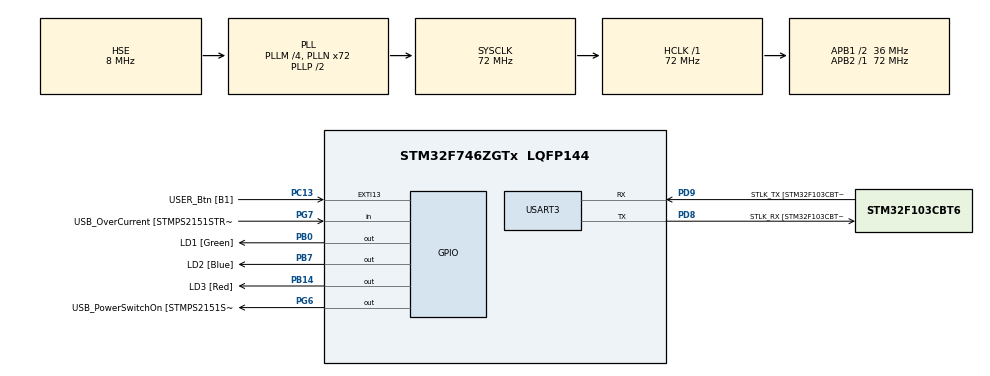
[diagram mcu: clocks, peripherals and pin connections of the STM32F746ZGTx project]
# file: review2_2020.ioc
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FREERTOS.INCLUDE_vTaskDelayUntil=1
FREERTOS.Queues01=Qtranscode,20,uint8_t,0,Dynamic,NULL,NULL;uart3_rx_queue,50,uint8_t,0,Dynamic,NULL,NULL
FREERTOS.Tasks01=taskTranscode,0,128,taskTranscodeFn,Default,NULL,Dynamic,NULL,NULL;taskBeep,-3,128,taskBeepFn,Default,NULL,Dynamic,NULL,NULL
FREERTOS.configUSE_NEWLIB_REENTRANT=1
Mcu.Family=STM32F7
Mcu.Name=STM32F746ZGTx
Mcu.Package=LQFP144
NVIC.PriorityGroup=NVIC_PRIORITYGROUP_4
NVIC.TIM3_IRQn=true\:0\:0\:false\:false\:true\:false\:false\:true
NVIC.TimeBase=TIM3_IRQn
NVIC.TimeBaseIP=TIM3
NVIC.USART3_IRQn=true\:5\:0\:false\:false\:true\:true\:true\:true
PA1.GPIO_Label=RMII_REF_CLK [LAN8742A-CZ-TR_REFCLK0]
PA1.Signal=ETH_REF_CLK
PA10.GPIO_Label=USB_ID
PA10.Signal=USB_OTG_FS_ID
PA11.GPIO_Label=USB_DM
PA11.Signal=USB_OTG_FS_DM
PA12.GPIO_Label=USB_DP
PA12.Signal=USB_OTG_FS_DP
PA13.GPIO_Label=TMS
PA13.Mode=Serial_Wire
PA13.Signal=SYS_JTMS-SWDIO
PA14.GPIO_Label=TCK
PA14.Mode=Serial_Wire
PA14.Signal=SYS_JTCK-SWCLK
PA2.GPIO_Label=RMII_MDIO [LAN8742A-CZ-TR_MDIO]
PA2.Signal=ETH_MDIO
PA7.GPIO_Label=RMII_CRS_DV [LAN8742A-CZ-TR_CRS_DV]
PA7.Signal=ETH_CRS_DV
PA8.GPIO_Label=USB_SOF [TP1]
PA8.Signal=USB_OTG_FS_SOF
PA9.GPIO_Label=USB_VBUS
PA9.Signal=USB_OTG_FS_VBUS
PB0.GPIO_Label=LD1 [Green]
PB0.Signal=GPIO_Output
PB13.GPIO_Label=RMII_TXD1 [LAN8742A-CZ-TR_TXD1]
PB13.Signal=ETH_TXD1
PB14.GPIO_Label=LD3 [Red]
PB14.Signal=GPIO_Output
PB3.GPIO_Label=SW0
PB3.Signal=SYS_JTDO-SWO
PB7.GPIO_Label=LD2 [Blue]
PB7.Signal=GPIO_Output
PC1.GPIO_Label=RMII_MDC [LAN8742A-CZ-TR_MDC]
PC1.Signal=ETH_MDC
PC13.GPIO_Label=USER_Btn [B1]
PC13.Signal=GPXTI13
PC14/OSC32_IN.Mode=LSE-External-Oscillator
PC14/OSC32_IN.Signal=RCC_OSC32_IN
PC15/OSC32_OUT.Mode=LSE-External-Oscillator
PC15/OSC32_OUT.Signal=RCC_OSC32_OUT
PC4.GPIO_Label=RMII_RXD0 [LAN8742A-CZ-TR_RXD0]
PC4.Signal=ETH_RXD0
PC5.GPIO_Label=RMII_RXD1 [LAN8742A-CZ-TR_RXD1]
PC5.Signal=ETH_RXD1
PD8.GPIO_Label=STLK_RX [STM32F103CBT6_PA3]
PD8.Mode=Asynchronous
PD8.Signal=USART3_TX
PD9.GPIO_Label=STLK_TX [STM32F103CBT6_PA2]
PD9.Mode=Asynchronous
PD9.Signal=USART3_RX
PG11.GPIO_Label=RMII_TX_EN [LAN8742A-CZ-TR_TXEN]
PG11.Signal=ETH_TX_EN
PG13.GPIO_Label=RMII_TXD0 [LAN8742A-CZ-TR_TXD0]
PG13.Signal=ETH_TXD0
PG6.GPIO_Label=USB_PowerSwitchOn [STMPS2151STR_EN]
PG6.Signal=GPIO_Output
PG7.GPIO_Label=USB_OverCurrent [STMPS2151STR_FAULT]
PG7.Signal=GPIO_Input
PH0/OSC_IN.GPIO_Label=MCO [STM32F103CBT6_PA8]
PH0/OSC_IN.Mode=HSE-External-Clock-Source
PH0/OSC_IN.Signal=RCC_OSC_IN
PH1/OSC_OUT.Mode=HSE-External-Clock-Source
PH1/OSC_OUT.Signal=RCC_OSC_OUT
ProjectManager.HeapSize=0x200
ProjectManager.StackSize=0x400
ProjectManager.TargetToolchain=STM32CubeIDE
RCC.48MHZClocksFreq_Value=24000000
RCC.AHBFreq_Value=72000000
RCC.APB1CLKDivider=RCC_HCLK_DIV2
RCC.APB1Freq_Value=36000000
RCC.APB1TimFreq_Value=72000000
RCC.APB2Freq_Value=72000000
RCC.APB2TimFreq_Value=72000000
RCC.CortexFreq_Value=72000000
RCC.HCLKFreq_Value=72000000
RCC.HSE_VALUE=8000000
RCC.HSI_VALUE=16000000
RCC.PLLM=4
RCC.PLLMUL=RCC_PLL_MUL9
RCC.PLLN=72
RCC.PLLQ=3
RCC.PLLSourceVirtual=RCC_PLLSOURCE_HSE
RCC.PRESCALERUSB=RCC_USBCLKSOURCE_PLL_DIV1_5
RCC.SYSCLKFreq_VALUE=72000000
RCC.SYSCLKSource=RCC_SYSCLKSOURCE_PLLCLK
RCC.SYSCLKSourceVirtual=RCC_SYSCLKSOURCE_PLLCLK
RCC.USBFreq_Value=48000000
RCC.VCOOutputFreq_Value=144000000
USART3.VirtualMode-Asynchronous=VM_ASYNC
VP_FREERTOS_VS_CMSIS_V1.Mode=CMSIS_V1
VP_SYS_VS_tim3.Mode=TIM3
board=NUCLEO-F746ZG

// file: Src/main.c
/* USER CODE BEGIN Header */
/**
  ******************************************************************************
  * @file           : main.c
  * @brief          : Main program body
  ******************************************************************************
  * @attention
  *
  * <h2><center>&copy; Copyright (c) 2020 STMicroelectronics.
  * All rights reserved.</center></h2>
  *
  * This software component is licensed by ST under Ultimate Liberty license
  * SLA0044, the "License"; You may not use this file except in compliance with
  * the License. You may obtain a copy of the License at:
  *                             www.st.com/SLA0044
  *
  ******************************************************************************
  */
/* USER CODE END Header */
#include "main.h"
#include "cmsis_os.h"

UART_HandleTypeDef huart3;

osThreadId taskTranscodeHandle;
osThreadId taskBeepHandle;
osMessageQId QtranscodeHandle;
osMessageQId uart3_rx_queueHandle;
/* USER CODE BEGIN PV */

struct A2MstructType
{
    const char         letter;
    const char * const morse;
};

// declare the gloabl constant array of structures
static const struct A2MstructType cxTABLE[] =
{
    { '0', "----- " },  //[0]
    { '1', ".---- " },
    { '2', "..--- " },
    { '3', "...-- " },
    { '4', "....- " },
    { '5', "..... " },
    { '6', "-.... " },
    { '7', "--... " },
    { '8', "---.. " },
    { '9', "----. " },
    { 'A', ".- " },     //[10]
    { 'B', "-... " },
    { 'C', "-.-. " },
    { 'D', "-.. " },
    { 'E', ". " },
    { 'F', "..-. " },
    { 'G', "--. " },
    { 'H', ".... " },
    { 'I', ".. " },
    { 'J', ".--- " },
    { 'K', ".-.- " },   //[20]
    { 'L', ".-.. " },
    { 'M', "-- " },
    { 'N', "-. " },
    { 'O', "--- " },
    { 'P', ".--. " },
    { 'Q', "--.- " },
    { 'R', ".-. " },
    { 'S', "... " },
    { 'T', "- " },
    { 'U', "..- " },    //[30]
    { 'V', "...- " },
    { 'W', ".-- " },
    { 'X', "-..- " },
    { 'Y', "-.-- " },
    { 'Z', "--.. " },
    { ' ', "    " },
    { '.', ".-.-.- " },
    { ',', "--..-- " },
    { '?', "..--.. " },
};

/* USER CODE END PV */

void SystemClock_Config(void);
static void MX_GPIO_Init(void);
static void MX_USART3_UART_Init(void);
void taskTranscodeFn(void const * argument);
void taskBeepFn(void const * argument);

int main(void)
{

  /* MCU Configuration--------------------------------------------------------*/

  /* Reset of all peripherals, Initializes the Flash interface and the Systick. */
  HAL_Init();

  /* Configure the system clock */
  SystemClock_Config();

  /* Initialize all configured peripherals */
  MX_GPIO_Init();
  MX_USART3_UART_Init();
  /* USER CODE BEGIN 2 */
  __HAL_UART_ENABLE_IT(&huart3, UART_IT_RXNE);
  /* USER CODE END 2 */

  /* Create the queue(s) */
  /* definition and creation of Qtranscode */
  osMessageQDef(Qtranscode, 20, uint8_t);
  QtranscodeHandle = osMessageCreate(osMessageQ(Qtranscode), NULL);

  /* definition and creation of uart3_rx_queue */
  osMessageQDef(uart3_rx_queue, 50, uint8_t);
  uart3_rx_queueHandle = osMessageCreate(osMessageQ(uart3_rx_queue), NULL);

  /* Create the thread(s) */
  /* definition and creation of taskTranscode */
  osThreadDef(taskTranscode, taskTranscodeFn, osPriorityNormal, 0, 128);
  taskTranscodeHandle = osThreadCreate(osThread(taskTranscode), NULL);

  /* definition and creation of taskBeep */
  osThreadDef(taskBeep, taskBeepFn, osPriorityIdle, 0, 128);
  taskBeepHandle = osThreadCreate(osThread(taskBeep), NULL);

  /* Start scheduler */
  osKernelStart();

  /* We should never get here as control is now taken by the scheduler */
  /* Infinite loop */
  while (1)
  {

  }
}

void SystemClock_Config(void)
{
  RCC_OscInitTypeDef RCC_OscInitStruct = {0};
  RCC_ClkInitTypeDef RCC_ClkInitStruct = {0};

  /** Configure LSE Drive Capability
  */
  HAL_PWR_EnableBkUpAccess();
  /** Configure the main internal regulator output voltage
  */
  __HAL_RCC_PWR_CLK_ENABLE();
  __HAL_PWR_VOLTAGESCALING_CONFIG(PWR_REGULATOR_VOLTAGE_SCALE3);
  /** Initializes the RCC Oscillators according to the specified parameters
  * in the RCC_OscInitTypeDef structure.
  */
  RCC_OscInitStruct.OscillatorType = RCC_OSCILLATORTYPE_HSE;
  RCC_OscInitStruct.HSEState = RCC_HSE_BYPASS;
  RCC_OscInitStruct.PLL.PLLState = RCC_PLL_ON;
  RCC_OscInitStruct.PLL.PLLSource = RCC_PLLSOURCE_HSE;
  RCC_OscInitStruct.PLL.PLLM = 4;
  RCC_OscInitStruct.PLL.PLLN = 72;
  RCC_OscInitStruct.PLL.PLLP = RCC_PLLP_DIV2;
  RCC_OscInitStruct.PLL.PLLQ = 3;
  if (HAL_RCC_OscConfig(&RCC_OscInitStruct) != HAL_OK)
  {
    Error_Handler();
  }
  /** Initializes the CPU, AHB and APB buses clocks
  */
  RCC_ClkInitStruct.ClockType = RCC_CLOCKTYPE_HCLK|RCC_CLOCKTYPE_SYSCLK
                              |RCC_CLOCKTYPE_PCLK1|RCC_CLOCKTYPE_PCLK2;
  RCC_ClkInitStruct.SYSCLKSource = RCC_SYSCLKSOURCE_PLLCLK;
  RCC_ClkInitStruct.AHBCLKDivider = RCC_SYSCLK_DIV1;
  RCC_ClkInitStruct.APB1CLKDivider = RCC_HCLK_DIV2;
  RCC_ClkInitStruct.APB2CLKDivider = RCC_HCLK_DIV1;

  if (HAL_RCC_ClockConfig(&RCC_ClkInitStruct, FLASH_LATENCY_2) != HAL_OK)
  {
    Error_Handler();
  }
}

static void MX_USART3_UART_Init(void)
{

  huart3.Instance = USART3;
  huart3.Init.BaudRate = 115200;
  huart3.Init.WordLength = UART_WORDLENGTH_8B;
  huart3.Init.StopBits = UART_STOPBITS_1;
  huart3.Init.Parity = UART_PARITY_NONE;
  huart3.Init.Mode = UART_MODE_TX_RX;
  huart3.Init.HwFlowCtl = UART_HWCONTROL_NONE;
  huart3.Init.OverSampling = UART_OVERSAMPLING_16;
  huart3.Init.OneBitSampling = UART_ONE_BIT_SAMPLE_DISABLE;
  huart3.AdvancedInit.AdvFeatureInit = UART_ADVFEATURE_NO_INIT;
  if (HAL_UART_Init(&huart3) != HAL_OK)
  {
    Error_Handler();
  }

}

static void MX_GPIO_Init(void)
{
  GPIO_InitTypeDef GPIO_InitStruct = {0};

  /* GPIO Ports Clock Enable */
  __HAL_RCC_GPIOC_CLK_ENABLE();
  __HAL_RCC_GPIOH_CLK_ENABLE();
  __HAL_RCC_GPIOA_CLK_ENABLE();
  __HAL_RCC_GPIOB_CLK_ENABLE();
  __HAL_RCC_GPIOD_CLK_ENABLE();
  __HAL_RCC_GPIOG_CLK_ENABLE();

  /*Configure GPIO pin Output Level */
  HAL_GPIO_WritePin(GPIOB, LD1_Pin|LD3_Pin|LD2_Pin, GPIO_PIN_RESET);

  /*Configure GPIO pin Output Level */
  HAL_GPIO_WritePin(USB_PowerSwitchOn_GPIO_Port, USB_PowerSwitchOn_Pin, GPIO_PIN_RESET);

  /*Configure GPIO pin : USER_Btn_Pin */
  GPIO_InitStruct.Pin = USER_Btn_Pin;
  GPIO_InitStruct.Mode = GPIO_MODE_IT_RISING;
  GPIO_InitStruct.Pull = GPIO_NOPULL;
  HAL_GPIO_Init(USER_Btn_GPIO_Port, &GPIO_InitStruct);

  /*Configure GPIO pins : RMII_MDC_Pin RMII_RXD0_Pin RMII_RXD1_Pin */
  GPIO_InitStruct.Pin = RMII_MDC_Pin|RMII_RXD0_Pin|RMII_RXD1_Pin;
  GPIO_InitStruct.Mode = GPIO_MODE_AF_PP;
  GPIO_InitStruct.Pull = GPIO_NOPULL;
  GPIO_InitStruct.Speed = GPIO_SPEED_FREQ_VERY_HIGH;
  GPIO_InitStruct.Alternate = GPIO_AF11_ETH;
  HAL_GPIO_Init(GPIOC, &GPIO_InitStruct);

  /*Configure GPIO pins : RMII_REF_CLK_Pin RMII_MDIO_Pin RMII_CRS_DV_Pin */
  GPIO_InitStruct.Pin = RMII_REF_CLK_Pin|RMII_MDIO_Pin|RMII_CRS_DV_Pin;
  GPIO_InitStruct.Mode = GPIO_MODE_AF_PP;
  GPIO_InitStruct.Pull = GPIO_NOPULL;
  GPIO_InitStruct.Speed = GPIO_SPEED_FREQ_VERY_HIGH;
  GPIO_InitStruct.Alternate = GPIO_AF11_ETH;
  HAL_GPIO_Init(GPIOA, &GPIO_InitStruct);

  /*Configure GPIO pins : LD1_Pin LD3_Pin LD2_Pin */
  GPIO_InitStruct.Pin = LD1_Pin|LD3_Pin|LD2_Pin;
  GPIO_InitStruct.Mode = GPIO_MODE_OUTPUT_PP;
  GPIO_InitStruct.Pull = GPIO_NOPULL;
  GPIO_InitStruct.Speed = GPIO_SPEED_FREQ_LOW;
  HAL_GPIO_Init(GPIOB, &GPIO_InitStruct);

  /*Configure GPIO pin : RMII_TXD1_Pin */
  GPIO_InitStruct.Pin = RMII_TXD1_Pin;
  GPIO_InitStruct.Mode = GPIO_MODE_AF_PP;
  GPIO_InitStruct.Pull = GPIO_NOPULL;
  GPIO_InitStruct.Speed = GPIO_SPEED_FREQ_VERY_HIGH;
  GPIO_InitStruct.Alternate = GPIO_AF11_ETH;
  HAL_GPIO_Init(RMII_TXD1_GPIO_Port, &GPIO_InitStruct);

  /*Configure GPIO pin : USB_PowerSwitchOn_Pin */
  GPIO_InitStruct.Pin = USB_PowerSwitchOn_Pin;
  GPIO_InitStruct.Mode = GPIO_MODE_OUTPUT_PP;
  GPIO_InitStruct.Pull = GPIO_NOPULL;
  GPIO_InitStruct.Speed = GPIO_SPEED_FREQ_LOW;
  HAL_GPIO_Init(USB_PowerSwitchOn_GPIO_Port, &GPIO_InitStruct);

  /*Configure GPIO pin : USB_OverCurrent_Pin */
  GPIO_InitStruct.Pin = USB_OverCurrent_Pin;
  GPIO_InitStruct.Mode = GPIO_MODE_INPUT;
  GPIO_InitStruct.Pull = GPIO_NOPULL;
  HAL_GPIO_Init(USB_OverCurrent_GPIO_Port, &GPIO_InitStruct);

  /*Configure GPIO pins : USB_SOF_Pin USB_ID_Pin USB_DM_Pin USB_DP_Pin */
  GPIO_InitStruct.Pin = USB_SOF_Pin|USB_ID_Pin|USB_DM_Pin|USB_DP_Pin;
  GPIO_InitStruct.Mode = GPIO_MODE_AF_PP;
  GPIO_InitStruct.Pull = GPIO_NOPULL;
  GPIO_InitStruct.Speed = GPIO_SPEED_FREQ_VERY_HIGH;
  GPIO_InitStruct.Alternate = GPIO_AF10_OTG_FS;
  HAL_GPIO_Init(GPIOA, &GPIO_InitStruct);

  /*Configure GPIO pin : USB_VBUS_Pin */
  GPIO_InitStruct.Pin = USB_VBUS_Pin;
  GPIO_InitStruct.Mode = GPIO_MODE_INPUT;
  GPIO_InitStruct.Pull = GPIO_NOPULL;
  HAL_GPIO_Init(USB_VBUS_GPIO_Port, &GPIO_InitStruct);

  /*Configure GPIO pins : RMII_TX_EN_Pin RMII_TXD0_Pin */
  GPIO_InitStruct.Pin = RMII_TX_EN_Pin|RMII_TXD0_Pin;
  GPIO_InitStruct.Mode = GPIO_MODE_AF_PP;
  GPIO_InitStruct.Pull = GPIO_NOPULL;
  GPIO_InitStruct.Speed = GPIO_SPEED_FREQ_VERY_HIGH;
  GPIO_InitStruct.Alternate = GPIO_AF11_ETH;
  HAL_GPIO_Init(GPIOG, &GPIO_InitStruct);

}

void taskTranscodeFn(void const * argument)
{
  /* USER CODE BEGIN 5 */
  /* Infinite loop */
  for(;;)
  {
	  uint8_t buffer;
      BaseType_t status = xQueueReceive(uart3_rx_queueHandle, &buffer, 10 / portTICK_PERIOD_MS );
      // Note: timeout of 0ms means that either a byte is already received and waiting or timeout is returned
      if ( status ) {
          uint8_t i;

          if (buffer>='a' && buffer<='z')
          {
              buffer = buffer-'a'+'A';
          }

          for (i=0; i<40; i++)
          {
              if (cxTABLE[i].letter==buffer)
                  break;
          }
          if (i<40)
          {
              uint8_t j;
              for (j=0; cxTABLE[i].morse[j]!='\0'; j++) {
                  do {
                      BaseType_t status = xQueueSend(QtranscodeHandle, &cxTABLE[i].morse[j], 0);
                      if (status)
                      {
                          // switch off RED - "you can type faster"
                      } else {
                          // switch on RED - "slow down!!"
                      }
                  } while ( status==pdFALSE );
                                }
          } else {
              // send "error Morse code? "
          }

      } else {
        // do something to "encourage" user to type way much faster
      }
  }
  /* USER CODE END 5 */
}

void taskBeepFn(void const * argument)
{
  /* USER CODE BEGIN taskBeepFn */
  /* Infinite loop */
  for(;;)
  {
        uint8_t message; // must be the same type size as the type size used for queue declaration
        BaseType_t status = xQueueReceive(QtranscodeHandle, &message, 1000 / portTICK_PERIOD_MS );
        if (status) {
            // switch off GREEN - typing OK
            if (message=='.') {
                // ON wait 60 OFF wait 60
            } else if (message=='-') {
                // ON wait 180 OFF wait 60
            } else if (message==' ') {
                // wait ???        wait using osDelay(1);
            }
		} else {
			// switch on GREEN - type faster!!! dead silence on air
		}
  }
  /* USER CODE END taskBeepFn */
}

void HAL_TIM_PeriodElapsedCallback(TIM_HandleTypeDef *htim)
{
  if (htim->Instance == TIM3) {
    HAL_IncTick();
  }
}

void Error_Handler(void)
{
}
